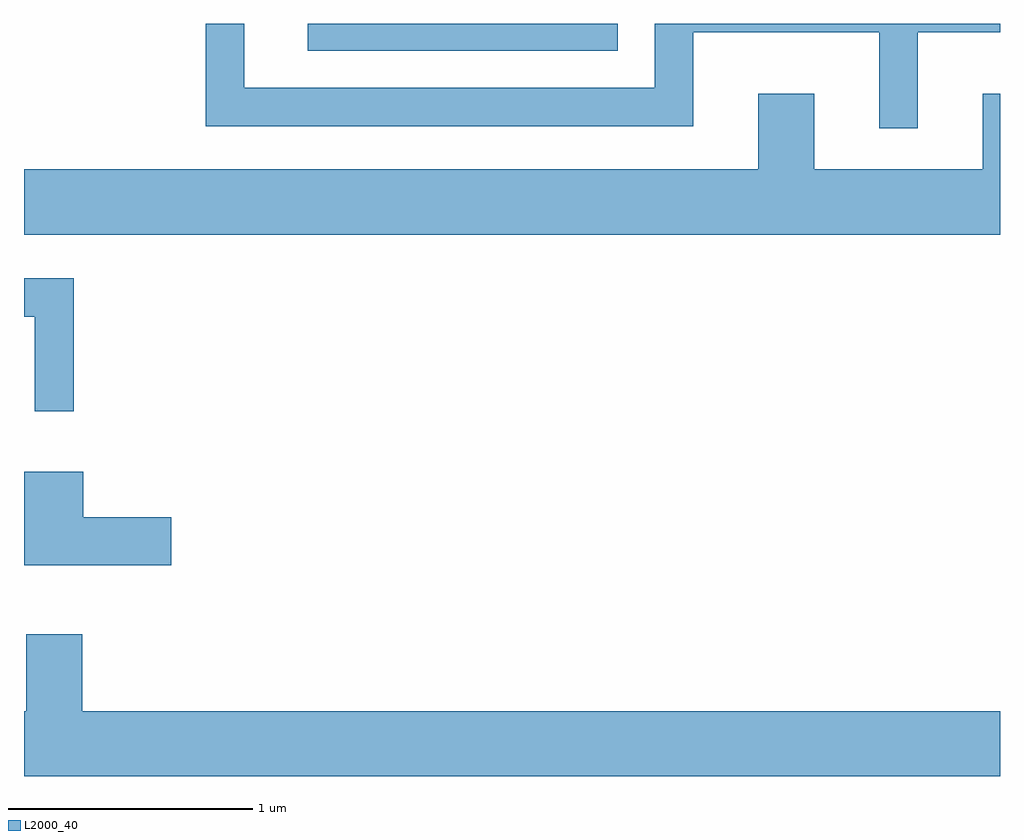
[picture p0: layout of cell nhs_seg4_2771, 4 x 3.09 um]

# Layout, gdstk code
import gdstk
lib = gdstk.Library(unit=1e-6, precision=1e-09)
def R(c, l, rs):  # rectangles x0, y0, x1, y1
    for r in rs: c.add(gdstk.rectangle(r[:2], r[2:], *l))
def P(c, l, *ps):  # polygons
    for p in ps: c.add(gdstk.Polygon(p, *l))
L2000_40 = (2000, 40)

nhs_seg4_2771 = lib.new_cell('nhs_seg4_2771')
R(nhs_seg4_2771, L2000_40, [(266.773,1359.871,268.044,1359.982)])
P(nhs_seg4_2771, L2000_40, [(269.274,1359.946),(269.611,1359.946),(269.611,1359.982),(268.196,1359.982),(268.196,1359.719),(266.514,1359.719),(266.514,1359.982),(266.356,1359.982),(266.356,1359.561),(268.354,1359.561),(268.354,1359.946),(269.116,1359.946),(269.116,1359.553),(269.274,1359.553)],
  [(269.611,1359.694),(269.541,1359.694),(269.541,1359.384),(268.849,1359.384),(268.849,1359.694),(268.621,1359.694),(268.621,1359.384),(265.611,1359.384),(265.611,1359.116),(269.611,1359.116)],
  [(265.814,1358.939),(265.611,1358.939),(265.611,1358.781),(265.656,1358.781),(265.656,1358.393),(265.814,1358.393)],
  [(266.214,1357.959),(265.854,1357.959),(265.854,1358.144),(265.611,1358.144),(265.611,1357.761),(266.214,1357.761)],
  [(269.611,1357.164),(265.849,1357.164),(265.849,1357.479),(265.621,1357.479),(265.621,1357.164),(265.611,1357.164),(265.611,1356.896),(269.611,1356.896)])

lib.write_gds('nhs_seg4_2771.gds')
